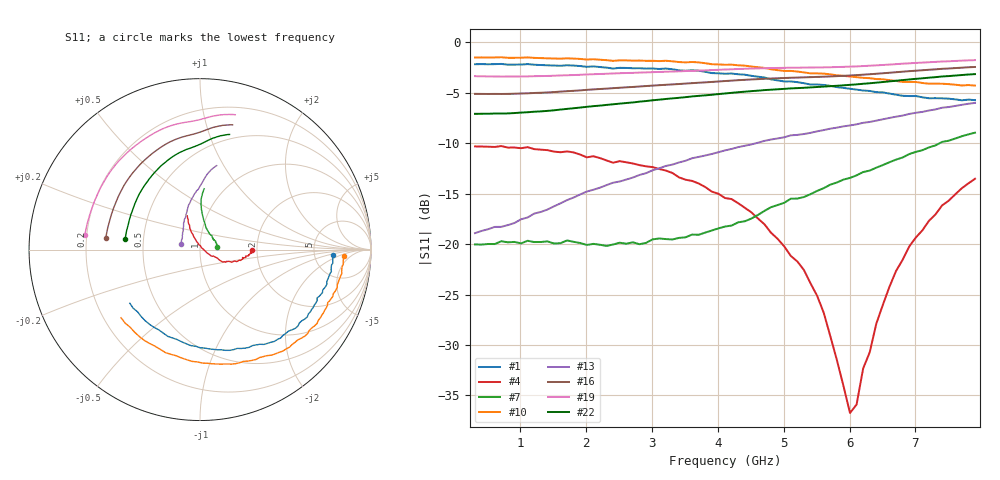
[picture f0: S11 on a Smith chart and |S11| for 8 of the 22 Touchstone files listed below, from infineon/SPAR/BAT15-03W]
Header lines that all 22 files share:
! Infineon Technologies  Discrete & RF Semiconductors
! BAT15-03W-E6327
! One-Port S-Parameters
# Hz  S  MA  R  50
!f  S11
!Hz  Mag  Ang
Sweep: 309.9 MHz to 7.906 GHz
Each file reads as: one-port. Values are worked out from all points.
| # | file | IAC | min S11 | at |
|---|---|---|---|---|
| 1 | BAT15-03W_IAC_0.1mA.s1p | 0.1 mA | -5.8 dB | 7.706 GHz |
| 2 | BAT15-03W_IAC_0.2mA.s1p | 0.2 mA | -11.5 dB | 7.706 GHz |
| 3 | BAT15-03W_IAC_0.3mA.s1p | 0.3 mA | -20.5 dB | 6.907 GHz |
| 4 | BAT15-03W_IAC_0.4mA.s1p | 0.4 mA | -36.7 dB | 6.007 GHz |
| 5 | BAT15-03W_IAC_0.5mA.s1p | 0.5 mA | -21.5 dB | 4.608 GHz |
| 6 | BAT15-03W_IAC_0.05mA.s1p | 0.05 mA | -3.4 dB | 7.906 GHz |
| 7 | BAT15-03W_IAC_0.6mA.s1p | 0.6 mA | -20.2 dB | 2.309 GHz |
| 8 | BAT15-03W_IAC_0.06mA.s1p | 0.06 mA | -3.8 dB | 7.906 GHz |
| 9 | BAT15-03W_IAC_0.7mA.s1p | 0.7 mA | -31.4 dB | 309.9 MHz |
| 10 | BAT15-03W_IAC_0.07mA.s1p | 0.07 mA | -4.3 dB | 7.906 GHz |
| 11 | BAT15-03W_IAC_0.8mA.s1p | 0.8 mA | -25.0 dB | 309.9 MHz |
| 12 | BAT15-03W_IAC_0.08mA.s1p | 0.08 mA | -4.8 dB | 7.906 GHz |
| 13 | BAT15-03W_IAC_0.9mA.s1p | 0.9 mA | -18.9 dB | 309.9 MHz |
| 14 | BAT15-03W_IAC_0.09mA.s1p | 0.09 mA | -5.2 dB | 7.706 GHz |
| 15 | BAT15-03W_IAC_1mA.s1p | 1 mA | -15.7 dB | 309.9 MHz |
| 16 | BAT15-03W_IAC_3mA.s1p | 3 mA | -5.1 dB | 509.8 MHz |
| 17 | BAT15-03W_IAC_4mA.s1p | 4 mA | -4.2 dB | 709.6 MHz |
| 18 | BAT15-03W_IAC_5mA.s1p | 5 mA | -3.7 dB | 709.6 MHz |
| 19 | BAT15-03W_IAC_6mA.s1p | 6 mA | -3.4 dB | 709.6 MHz |
| 20 | BAT15-03W_IAC_7mA.s1p | 7 mA | -3.2 dB | 709.6 MHz |
| 21 | BAT15-03W_IAC_8mA.s1p | 8 mA | -3.0 dB | 709.6 MHz |
| 22 | BAT15-03W_IAC_10mA.s1p | 10 mA | -7.1 dB | 309.9 MHz |
